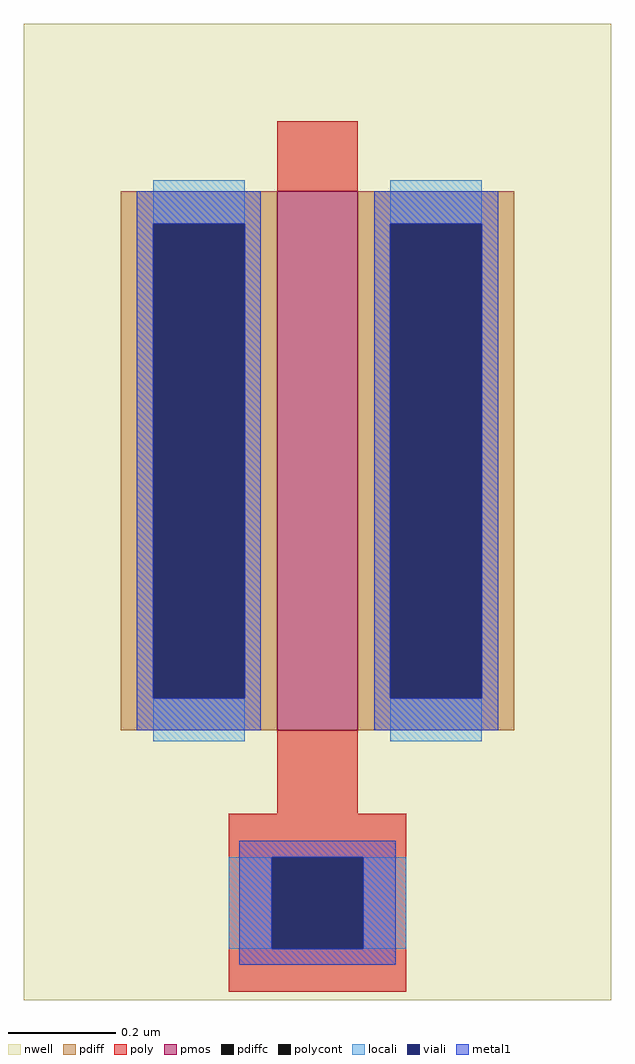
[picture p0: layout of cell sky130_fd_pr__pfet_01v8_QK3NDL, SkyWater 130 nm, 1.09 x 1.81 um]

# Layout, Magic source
magic
tech sky130A
magscale 1 2
<< nwell >>
rect -109 -164 109 198
<< pmos >>
rect -15 -64 15 136
<< pdiff >>
rect -73 124 -15 136
rect -73 -52 -61 124
rect -27 -52 -15 124
rect -73 -64 -15 -52
rect 15 124 73 136
rect 15 -52 27 124
rect 61 -52 73 124
rect 15 -64 73 -52
<< pdiffc >>
rect -61 -52 -27 124
rect 27 -52 61 124
<< poly >>
rect -15 136 15 162
rect -15 -95 15 -64
rect -33 -111 33 -95
rect -33 -145 -17 -111
rect 17 -145 33 -111
rect -33 -161 33 -145
<< polycont >>
rect -17 -145 17 -111
<< locali >>
rect -61 124 -27 140
rect -61 -68 -27 -52
rect 27 124 61 140
rect 27 -68 61 -52
rect -33 -145 -17 -111
rect 17 -145 33 -111
<< viali >>
rect -61 -52 -27 124
rect 27 -52 61 124
rect -17 -145 17 -111
<< metal1 >>
rect -67 124 -21 136
rect -67 -52 -61 124
rect -27 -52 -21 124
rect -67 -64 -21 -52
rect 21 124 67 136
rect 21 -52 27 124
rect 61 -52 67 124
rect 21 -64 67 -52
rect -29 -111 29 -105
rect -29 -145 -17 -111
rect 17 -145 29 -111
rect -29 -151 29 -145
<< properties >>
string gencell sky130_fd_pr__pfet_01v8
string library sky130
string parameters w 1.0 l 0.15 m 1 nf 1 diffcov 100 polycov 100 guard 0 glc 0 grc 0 gtc 0 gbc 1 tbcov 100 rlcov 100 topc 0 botc 1 poverlap 0 doverlap 1 lmin 0.15 wmin 0.42 compatible {sky130_fd_pr__pfet_01v8  sky130_fd_pr__pfet_01v8_lvt sky130_fd_pr__pfet_01v8_hvt  sky130_fd_pr__pfet_g5v0d10v5} full_metal 0 viasrc 100 viadrn 100 viagate 100 viagb 0 viagr 0 viagl 0 viagt 0
<< end >>
